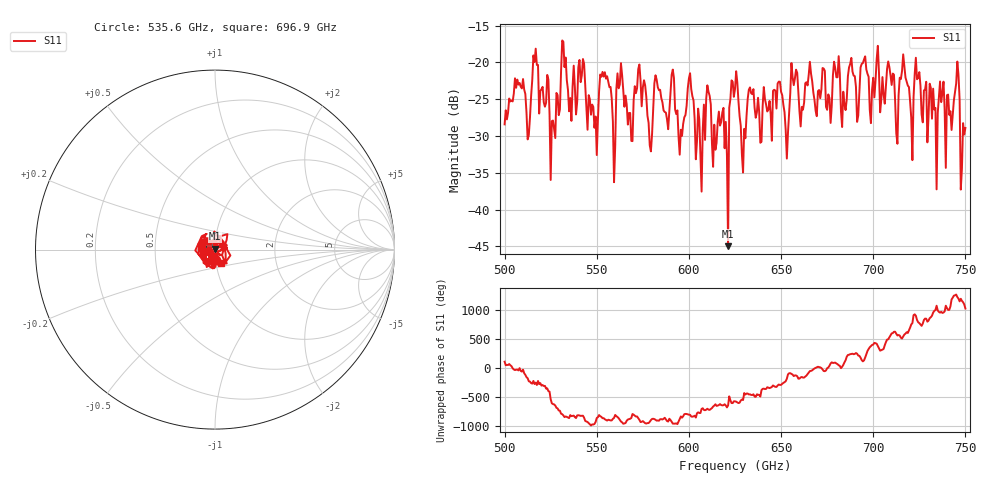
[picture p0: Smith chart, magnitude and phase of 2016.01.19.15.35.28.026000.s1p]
!Created with skrf (http://scikit-rf.org).
# GHz S RI R 50.0
!freq ReS11 ImS11
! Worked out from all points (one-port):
!   401 points, 500 GHz to 750 GHz, reference 50 ohm
!   lowest |S11| = -45.0 dB at 621.2 GHz (marker M1), VSWR 1.01, Z = 50.1 + j0.555 ohm
!   |S11| at or under -10 dB: start of sweep to end of sweep
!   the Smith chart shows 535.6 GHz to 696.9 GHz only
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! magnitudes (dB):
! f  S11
! 500 GHz  -28.4
! 513.1 GHz  -29.9
! 516.9 GHz  -18.1
! 526.2 GHz  -27.9
! 531.2 GHz  -17.0
! 549.4 GHz  -27.3
! 553.1 GHz  -21.3
! 559.4 GHz  -36.3
! 562.5 GHz  -23.0
! 568.1 GHz  -26.9
! 572.5 GHz  -20.9
! 578.8 GHz  -31.3
! 582.5 GHz  -22.3
! 593.8 GHz  -26.5
! 600.6 GHz  -21.5
! 605.6 GHz  -27.8
! 610.6 GHz  -24.0
! 621.2 GHz  -45.0
! 625 GHz  -23.6
! 629.4 GHz  -35.0
! 633.8 GHz  -24.2
! 653.1 GHz  -33.1
! 656.2 GHz  -22.0
! 683.8 GHz  -24.0
! 687.5 GHz  -20.2
! 718.8 GHz  -23.1
! 745.6 GHz  -19.9
! 750 GHz  -28.9
